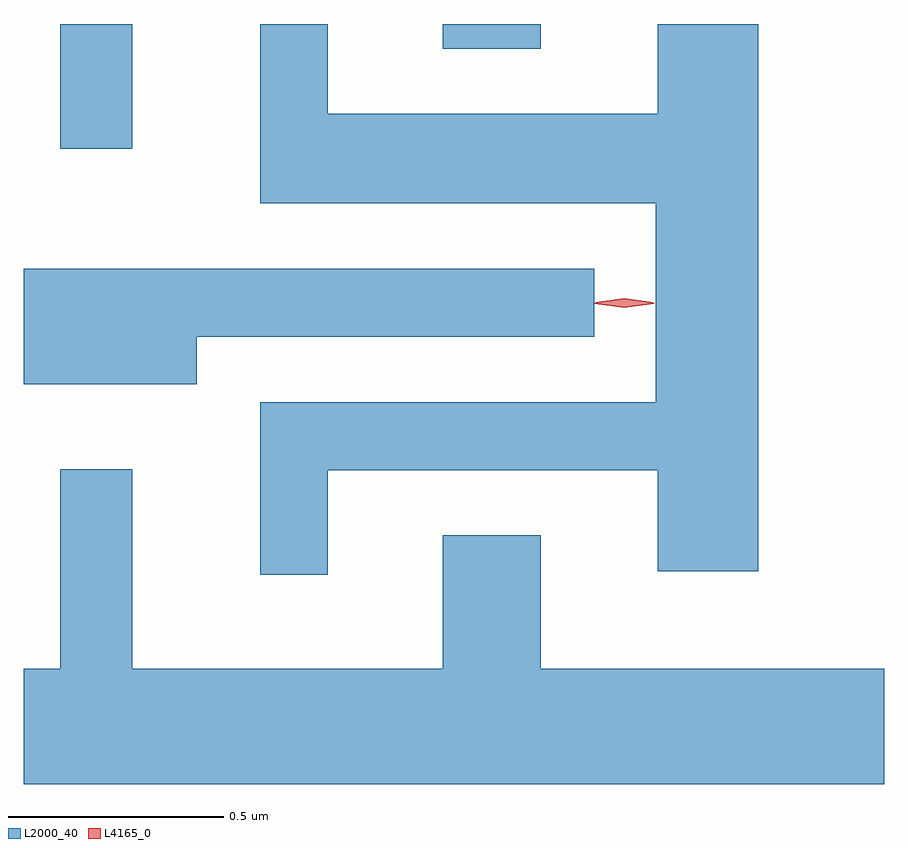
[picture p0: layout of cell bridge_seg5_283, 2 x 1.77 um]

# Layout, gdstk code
import gdstk
lib = gdstk.Library(unit=1e-6, precision=1e-09)
def R(c, l, rs):  # rectangles x0, y0, x1, y1
    for r in rs: c.add(gdstk.rectangle(r[:2], r[2:], *l))
def P(c, l, *ps):  # polygons
    for p in ps: c.add(gdstk.Polygon(p, *l))
L2000_40 = (2000, 40)
L4165_0 = (4165, 0)

bridge_seg5_283 = lib.new_cell('bridge_seg5_283')
R(bridge_seg5_283, L2000_40, [(997.531,1478.253,997.699,1478.543), (998.421,1478.486,998.649,1478.543)])
P(bridge_seg5_283, L2000_40, [(998.154,1477.506),(998.921,1477.506),(998.921,1477.271),(999.154,1477.271),(999.154,1478.543),(998.921,1478.543),(998.921,1478.334),(998.154,1478.334),(998.154,1478.543),(997.996,1478.543),(997.996,1478.126),(998.916,1478.126),(998.916,1477.664),(997.996,1477.664),(997.996,1477.263),(998.154,1477.263)],
  [(997.849,1477.816),(998.773,1477.816),(998.773,1477.974),(997.447,1477.974),(997.447,1477.706),(997.849,1477.706)],
  [(999.447,1477.044),(998.649,1477.044),(998.649,1477.354),(998.421,1477.354),(998.421,1477.044),(997.699,1477.044),(997.699,1477.508),(997.531,1477.508),(997.531,1477.044),(997.447,1477.044),(997.447,1476.776),(999.447,1476.776)])
P(bridge_seg5_283, L4165_0, [(998.843,1477.883),(998.774,1477.893),(998.773,1477.893),(998.774,1477.894),(998.843,1477.903),(998.912,1477.894),(998.913,1477.893),(998.912,1477.893)],
  [(998.843,1477.885),(998.777,1477.894),(998.777,1477.895),(998.777,1477.896),(998.843,1477.905),(998.909,1477.896),(998.909,1477.895),(998.909,1477.894)])

lib.write_gds('bridge_seg5_283.gds')
